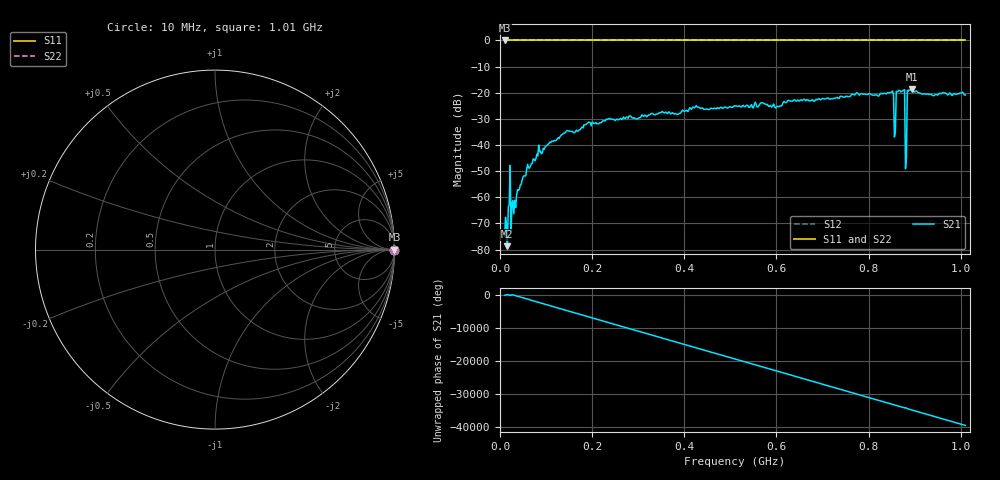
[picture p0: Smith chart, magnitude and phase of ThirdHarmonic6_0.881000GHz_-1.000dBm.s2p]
! 8/16/2025 5:01:27 AM
! C:\ANRITSUVNA\TEMP\TEMP.S2P
! CHANNEL.1
! TR.MEASUREMENT
! RAW.DATA
! RF.CORRECTION.OFF
! AVERAGING.OFF
! IF.BANDWIDTH: 5KHZ
! SWEEPTYPE:  FREQ.SWEEP(Linear)
! Reference Plane Port Info
! PORT:  PORT1  PORT2
! DISTANCE:  0  m  0  m
! TIME:  0  s  0  s
! PHASE.OFFSET:  0  deg.  0  deg.
! LOSS:  0  dB  0  dB
! REF.LOSS:  0  dB  0  dB
! REF.FREQ:  0  Hz  0  Hz
! Power Info
! POWER:  -20  dBm  -20  dBm
! EFF.POWER:  -20  dBm  -20  dBm
! SOURCE.ATTEN:  0  dB  0  dB
! TEST.ATTEN:  0  dB  0  dB
# GHZ S RI R 50.0
! FREQ.GHZ  S11RE  S11IM  S21RE  S21IM  S12RE  S12IM  S22RE  S22IM
!; PortSelection: Port_12
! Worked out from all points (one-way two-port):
!   501 points, 10 MHz to 1.01 GHz, reference 50 ohm
!   highest |S21| = -18.66 dB at 894 MHz (marker M1); lowest = -78.7 dB at 16 MHz (marker M2)
!   lowest |S11| = 0.0 dB at 10 MHz (marker M3)
!   |S11| at or under -10 dB: nowhere
!   |S22| runs from 0.0 to 0.0 dB; largest |S21 - S12| = 1.1
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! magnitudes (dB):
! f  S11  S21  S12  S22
! 10 MHz  0.0  -74.9  0.0  0.0
! 12 MHz  0.0  -67.6  0.0  0.0
! 16 MHz  0.0  -78.7  0.0  0.0
! 22 MHz  0.0  -47.8  0.0  0.0
! 28 MHz  0.0  -61.3  0.0  0.0
! 56 MHz  0.0  -51.7  0.0  0.0
! 84 MHz  0.0  -40.0  0.0  0.0
! 178 MHz  0.0  -33.1  0.0  0.0
! 344 MHz  0.0  -28.0  0.0  0.0
! 510 MHz  0.0  -25.0  0.0  0.0
! 678 MHz  0.0  -22.7  0.0  0.0
! 844 MHz  0.0  -20.0  0.0  0.0
! 850 MHz  0.0  -19.7  0.0  0.0
! 854 MHz  0.0  -20.7  0.0  0.0
! 858 MHz  0.0  -34.9  0.0  0.0
! 864 MHz  0.0  -19.4  0.0  0.0
! 874 MHz  0.0  -19.1  0.0  0.0
! 878 MHz  0.0  -18.8  0.0  0.0
! 884 MHz  0.0  -19.1  0.0  0.0
! 888 MHz  0.0  -18.9  0.0  0.0
! 894 MHz  0.0  -18.7  0.0  0.0
! 1.01 GHz  0.0  -20.9  0.0  0.0
